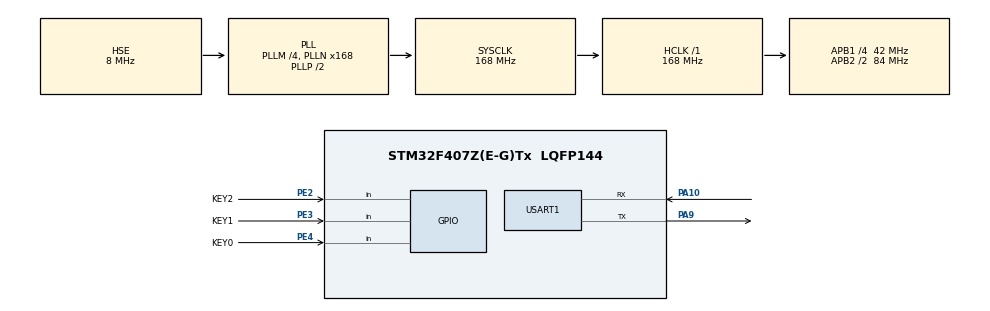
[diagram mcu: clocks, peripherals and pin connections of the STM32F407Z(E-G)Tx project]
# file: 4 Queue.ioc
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FREERTOS.Queues01=TEST_QUEUE,10,uint16_t,0,Dynamic,NULL,NULL
FREERTOS.Tasks01=task_SEND,32,128,TASK_SEND,Default,NULL,Dynamic,NULL,NULL;task_RECEIVE,24,128,TASK_RECEIVE,Default,NULL,Dynamic,NULL,NULL
FREERTOS.configTICK_RATE_HZ=1000
FREERTOS.configUSE_IDLE_HOOK=0
Mcu.Family=STM32F4
Mcu.Name=STM32F407Z(E-G)Tx
Mcu.Package=LQFP144
NVIC.PriorityGroup=NVIC_PRIORITYGROUP_4
NVIC.RTC_WKUP_IRQn=true\:7\:0\:true\:false\:true\:true\:true\:true\:true
NVIC.TIM6_DAC_IRQn=true\:15\:0\:true\:false\:true\:false\:false\:true\:true
NVIC.TimeBase=TIM6_DAC_IRQn
NVIC.TimeBaseIP=TIM6
PA10.Mode=Asynchronous
PA10.Signal=USART1_RX
PA13.Mode=Serial_Wire
PA13.Signal=SYS_JTMS-SWDIO
PA14.Mode=Serial_Wire
PA14.Signal=SYS_JTCK-SWCLK
PA9.Mode=Asynchronous
PA9.Signal=USART1_TX
PC14-OSC32_IN.Mode=LSE-External-Oscillator
PC14-OSC32_IN.Signal=RCC_OSC32_IN
PC15-OSC32_OUT.Mode=LSE-External-Oscillator
PC15-OSC32_OUT.Signal=RCC_OSC32_OUT
PE2.GPIO_Label=KEY2
PE2.GPIO_PuPd=GPIO_PULLUP
PE2.Signal=GPIO_Input
PE3.GPIO_Label=KEY1
PE3.GPIO_PuPd=GPIO_PULLUP
PE3.Signal=GPIO_Input
PE4.GPIO_Label=KEY0
PE4.GPIO_PuPd=GPIO_PULLUP
PE4.Signal=GPIO_Input
PH0-OSC_IN.Mode=HSE-External-Oscillator
PH0-OSC_IN.Signal=RCC_OSC_IN
PH1-OSC_OUT.Mode=HSE-External-Oscillator
PH1-OSC_OUT.Signal=RCC_OSC_OUT
ProjectManager.HeapSize=0x200
ProjectManager.StackSize=0x400
ProjectManager.TargetToolchain=MDK-ARM V5.32
RCC.48MHZClocksFreq_Value=84000000
RCC.AHBFreq_Value=168000000
RCC.APB1CLKDivider=RCC_HCLK_DIV4
RCC.APB1Freq_Value=42000000
RCC.APB1TimFreq_Value=84000000
RCC.APB2CLKDivider=RCC_HCLK_DIV2
RCC.APB2Freq_Value=84000000
RCC.APB2TimFreq_Value=168000000
RCC.CortexFreq_Value=168000000
RCC.HCLKFreq_Value=168000000
RCC.HSE_VALUE=8000000
RCC.HSI_VALUE=16000000
RCC.PLLM=4
RCC.PLLN=168
RCC.PLLSourceVirtual=RCC_PLLSOURCE_HSE
RCC.RCC_RTC_Clock_Source=RCC_RTCCLKSOURCE_LSE
RCC.RCC_RTC_Clock_SourceVirtual=RCC_RTCCLKSOURCE_LSE
RCC.SYSCLKFreq_VALUE=168000000
RCC.SYSCLKSource=RCC_SYSCLKSOURCE_PLLCLK
RCC.VCOOutputFreq_Value=336000000
RTC.WakeUpClock=RTC_WAKEUPCLOCK_CK_SPRE_16BITS
USART1.VirtualMode=VM_ASYNC
VP_FREERTOS_VS_CMSIS_V2.Mode=CMSIS_V2
VP_RTC_VS_RTC_Activate.Mode=RTC_Enabled
VP_RTC_VS_RTC_Calendar.Mode=RTC_Calendar
VP_RTC_VS_RTC_WakeUp_intern.Mode=WakeUp
VP_SYS_VS_tim6.Mode=TIM6
board=custom

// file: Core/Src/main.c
/* USER CODE BEGIN Header */
/**
  ******************************************************************************
  * @file           : main.c
  * @brief          : Main program body
  ******************************************************************************
  * @attention
  *
  * Copyright (c) 2024 STMicroelectronics.
  * All rights reserved.
  *
  * This software is licensed under terms that can be found in the LICENSE file
  * in the root directory of this software component.
  * If no LICENSE file comes with this software, it is provided AS-IS.
  *
  ******************************************************************************
  */
/* USER CODE END Header */
#include "main.h"
#include "cmsis_os.h"
#include "rtc.h"
#include "usart.h"
#include "gpio.h"

/* USER CODE BEGIN Includes */
#include "stdio.h"

#ifdef __GNUC__
#define PUTCHAR_PROTOTYPE int __io_putchar(int ch)
#else
#define PUTCHAR_PROTOTYPE int fputc(int ch, FILE *f)
#endif
PUTCHAR_PROTOTYPE
{
    HAL_UART_Transmit(&huart1, (uint8_t *)&ch, 1, HAL_MAX_DELAY);
    return ch;
}
/* USER CODE END Includes */

void SystemClock_Config(void);
void MX_FREERTOS_Init(void);

int main(void)
{

  /* MCU Configuration--------------------------------------------------------*/

  /* Reset of all peripherals, Initializes the Flash interface and the Systick. */
  HAL_Init();

  /* Configure the system clock */
  SystemClock_Config();

  /* Initialize all configured peripherals */
  MX_GPIO_Init();
  MX_USART1_UART_Init();
  MX_RTC_Init();

  /* Init scheduler */
  osKernelInitialize();

  /* Call init function for freertos objects (in freertos.c) */
  MX_FREERTOS_Init();

  /* Start scheduler */
  osKernelStart();

  /* We should never get here as control is now taken by the scheduler */
  /* Infinite loop */
  while (1)
  {

  }
}

void SystemClock_Config(void)
{
  RCC_OscInitTypeDef RCC_OscInitStruct = {0};
  RCC_ClkInitTypeDef RCC_ClkInitStruct = {0};

  /** Configure the main internal regulator output voltage
  */
  __HAL_RCC_PWR_CLK_ENABLE();
  __HAL_PWR_VOLTAGESCALING_CONFIG(PWR_REGULATOR_VOLTAGE_SCALE1);

  /** Initializes the RCC Oscillators according to the specified parameters
  * in the RCC_OscInitTypeDef structure.
  */
  RCC_OscInitStruct.OscillatorType = RCC_OSCILLATORTYPE_HSE|RCC_OSCILLATORTYPE_LSE;
  RCC_OscInitStruct.HSEState = RCC_HSE_ON;
  RCC_OscInitStruct.LSEState = RCC_LSE_ON;
  RCC_OscInitStruct.PLL.PLLState = RCC_PLL_ON;
  RCC_OscInitStruct.PLL.PLLSource = RCC_PLLSOURCE_HSE;
  RCC_OscInitStruct.PLL.PLLM = 4;
  RCC_OscInitStruct.PLL.PLLN = 168;
  RCC_OscInitStruct.PLL.PLLP = RCC_PLLP_DIV2;
  RCC_OscInitStruct.PLL.PLLQ = 4;
  if (HAL_RCC_OscConfig(&RCC_OscInitStruct) != HAL_OK)
  {
    Error_Handler();
  }

  /** Initializes the CPU, AHB and APB buses clocks
  */
  RCC_ClkInitStruct.ClockType = RCC_CLOCKTYPE_HCLK|RCC_CLOCKTYPE_SYSCLK
                              |RCC_CLOCKTYPE_PCLK1|RCC_CLOCKTYPE_PCLK2;
  RCC_ClkInitStruct.SYSCLKSource = RCC_SYSCLKSOURCE_PLLCLK;
  RCC_ClkInitStruct.AHBCLKDivider = RCC_SYSCLK_DIV1;
  RCC_ClkInitStruct.APB1CLKDivider = RCC_HCLK_DIV4;
  RCC_ClkInitStruct.APB2CLKDivider = RCC_HCLK_DIV2;

  if (HAL_RCC_ClockConfig(&RCC_ClkInitStruct, FLASH_LATENCY_5) != HAL_OK)
  {
    Error_Handler();
  }
}

void HAL_TIM_PeriodElapsedCallback(TIM_HandleTypeDef *htim)
{
  if (htim->Instance == TIM6) {
    HAL_IncTick();
  }
}

void Error_Handler(void)
{
  __disable_irq();
  while (1)
  {
  }
}

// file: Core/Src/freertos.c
/* USER CODE BEGIN Header */
/**
  ******************************************************************************
  * File Name          : freertos.c
  * Description        : Code for freertos applications
  ******************************************************************************
  * @attention
  *
  * Copyright (c) 2024 STMicroelectronics.
  * All rights reserved.
  *
  * This software is licensed under terms that can be found in the LICENSE file
  * in the root directory of this software component.
  * If no LICENSE file comes with this software, it is provided AS-IS.
  *
  ******************************************************************************
  */
/* USER CODE END Header */

#include "FreeRTOS.h"
#include "task.h"
#include "main.h"
#include "cmsis_os.h"

/* USER CODE BEGIN Includes */
#include "stdio.h"
#include "queue.h"
/* USER CODE END Includes */

/* Definitions for task_SEND */
osThreadId_t task_SENDHandle;
const osThreadAttr_t task_SEND_attributes = {
  .name = "task_SEND",
  .stack_size = 128 * 4,
  .priority = (osPriority_t) osPriorityAboveNormal,
};
/* Definitions for task_RECEIVE */
osThreadId_t task_RECEIVEHandle;
const osThreadAttr_t task_RECEIVE_attributes = {
  .name = "task_RECEIVE",
  .stack_size = 128 * 4,
  .priority = (osPriority_t) osPriorityNormal,
};
/* Definitions for TEST_QUEUE */
osMessageQueueId_t TEST_QUEUEHandle;
const osMessageQueueAttr_t TEST_QUEUE_attributes = {
  .name = "TEST_QUEUE"
};

void TASK_SEND(void *argument);
void TASK_RECEIVE(void *argument);

void MX_FREERTOS_Init(void); /* (MISRA C 2004 rule 8.1) */

void MX_FREERTOS_Init(void) {

  /* Create the queue(s) */
  /* creation of TEST_QUEUE */
  TEST_QUEUEHandle = osMessageQueueNew (10, sizeof(uint16_t), &TEST_QUEUE_attributes);

  /* Create the thread(s) */
  /* creation of task_SEND */
  task_SENDHandle = osThreadNew(TASK_SEND, NULL, &task_SEND_attributes);

  /* creation of task_RECEIVE */
  task_RECEIVEHandle = osThreadNew(TASK_RECEIVE, NULL, &task_RECEIVE_attributes);

}

void TASK_SEND(void *argument)
{
  /* USER CODE BEGIN TASK_SEND */
	uint16_t key_value = 0;
  /* Infinite loop */
  for(;;)
  {
		key_value = 0;

		if(HAL_GPIO_ReadPin(KEY2_GPIO_Port,KEY2_Pin) == GPIO_PIN_RESET)
			key_value = 3;

		if(HAL_GPIO_ReadPin(KEY1_GPIO_Port,KEY1_Pin) == GPIO_PIN_RESET)
			key_value = 2;

		if(HAL_GPIO_ReadPin(KEY0_GPIO_Port,KEY0_Pin) == GPIO_PIN_RESET)
			key_value = 1;

		if(key_value != 0)
		{
			BaseType_t err = xQueueSendToBack(TEST_QUEUEHandle, &key_value, pdMS_TO_TICKS(50));

			if(err == errQUEUE_FULL)
			{
				xQueueReset(TEST_QUEUEHandle);
			}
			//按键消抖
			osDelay(300);
		}
		else
			osDelay(10);
  }
  /* USER CODE END TASK_SEND */
}

void TASK_RECEIVE(void *argument)
{
  /* USER CODE BEGIN TASK_RECEIVE */
	UBaseType_t msgCount=0,freeSpace=0;
	uint16_t key_value=0;
  /* Infinite loop */
  for(;;)
  {
		msgCount = uxQueueMessagesWaiting(TEST_QUEUEHandle);
		freeSpace = uxQueueSpacesAvailable(TEST_QUEUEHandle);
		BaseType_t result = xQueueReceive(TEST_QUEUEHandle, &key_value, pdMS_TO_TICKS(50));

		if(result != pdTRUE)
			continue;

		printf("msgCount: %d, freeSpace: %d, key_value: %d\r\n", (uint16_t)msgCount, (uint16_t)freeSpace, key_value);

    osDelay(100);
  }
  /* USER CODE END TASK_RECEIVE */
}

/* USER CODE BEGIN Application */
/*周期唤醒回调函数*/
void HAL_RTCEx_WakeUpTimerEventCallback(RTC_HandleTypeDef *hrtc)
{
	uint16_t key_value = 9;
	BaseType_t pxHigherPriorityTaskWoken;
	//向队列中发送数据，中断安全版本
	xQueueSendToBackFromISR(TEST_QUEUEHandle, &key_value, &pxHigherPriorityTaskWoken);
	//进行上下文切换
	portYIELD_FROM_ISR(pxHigherPriorityTaskWoken);
}
/* USER CODE END Application */
